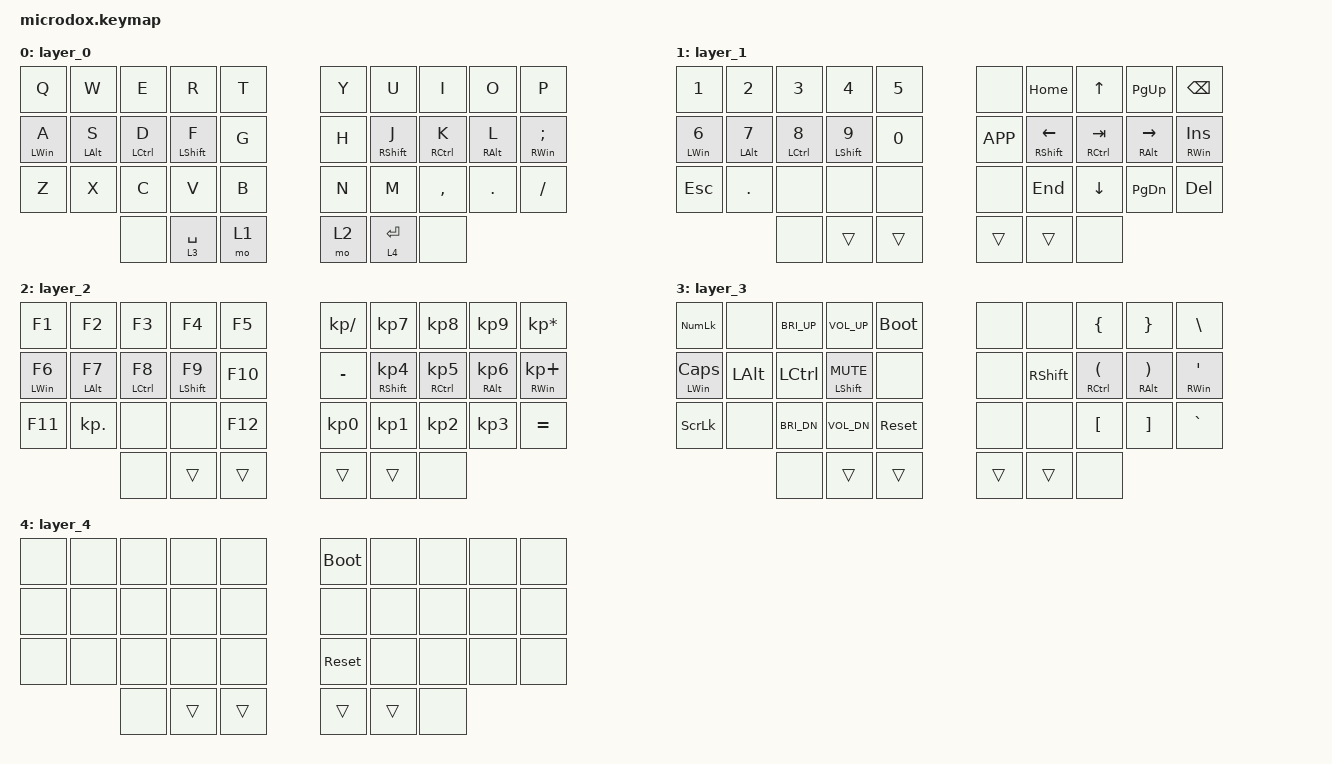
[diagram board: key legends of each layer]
/*
 * Copyright (c) 2020 The ZMK Contributors
 *
 * SPDX-License-Identifier: MIT
 */

#include <behaviors.dtsi>
#include <dt-bindings/zmk/keys.h>
#include <dt-bindings/zmk/bt.h>
#include <dt-bindings/zmk/outputs.h>

/ {
    behaviors {
        hm: homerow_mods {
            compatible = "zmk,behavior-hold-tap";
            label = "HOMEROW_MODS";
            #binding-cells = <2>;
            tapping-term-ms = <200>;
            quick-tap-ms = <125>;
            flavor = "tap-preferred";
            bindings = <&kp>, <&kp>;
        };
    };

    keymap {
        compatible = "zmk,keymap";
        layer_0 {
            bindings = <
// ╭─────────────┬─────────────┬─────────────┬─────────────┬─────────────╮   ╭─────────────┬─────────────┬─────────────┬─────────────┬─────────────╮
    &kp Q         &kp W         &kp E         &kp R         &kp T             &kp Y         &kp U         &kp I         &kp O         &kp P
// ├─────────────┼─────────────┼─────────────┼─────────────┼─────────────┤   ├─────────────┼─────────────┼─────────────┼─────────────┼─────────────┤
    &hm LWIN A    &hm LALT S    &hm LCTRL D   &hm LSHIFT F  &kp G             &kp H         &hm RSHIFT J  &hm RCTRL K   &hm RALT L    &hm RWIN SEMI
// ├─────────────┼─────────────┼─────────────┼─────────────┼─────────────┤   ├─────────────┼─────────────┼─────────────┼─────────────┼─────────────┤
    &kp Z         &kp X         &kp C         &kp V         &kp B             &kp N         &kp M         &kp COMMA     &kp DOT       &kp SLASH
// ╰─────────────┴─────────────┴─────────────┼─────────────┼─────────────┤   ├─────────────┼─────────────┼─────────────┴─────────────┴─────────────╯
                                &none         &lt 3 SPACE   &mo 1             &mo 2         &lt 4 ENTER   &none
//                                           ╰─────────────┴─────────────╯   ╰─────────────┴─────────────╯
            >;
        };
        layer_1 {
            bindings = <
// ╭─────────────┬─────────────┬─────────────┬─────────────┬─────────────╮   ╭─────────────┬─────────────┬─────────────┬─────────────┬─────────────╮
    &kp N1        &kp N2        &kp N3        &kp N4        &kp N5            &none         &kp HOME      &kp UP        &kp PAGE_UP   &kp BACKSPACE
// ├─────────────┼─────────────┼─────────────┼─────────────┼─────────────┤   ├─────────────┼─────────────┼─────────────┼─────────────┼─────────────┤
    &hm LWIN N6   &hm LALT N7   &hm LCTRL N8  &hm LSHIFT N9 &kp N0            &kp K_APP     &hm RSHIFT LEFT &hm RCTRL TAB &hm RALT RIGHT &hm RWIN INSERT
// ├─────────────┼─────────────┼─────────────┼─────────────┼─────────────┤   ├─────────────┼─────────────┼─────────────┼─────────────┼─────────────┤
    &kp ESCAPE    &kp DOT       &none         &none         &none             &none         &kp END       &kp DOWN      &kp PAGE_DOWN &kp DELETE
// ╰─────────────┴─────────────┴─────────────┼─────────────┼─────────────┤   ├─────────────┼─────────────┼─────────────┴─────────────┴─────────────╯
                                &none         &trans        &trans            &trans        &trans        &none
//                                           ╰─────────────┴─────────────╯   ╰─────────────┴─────────────╯
            >;
        };
        layer_2 {
            bindings = <
// ╭─────────────┬─────────────┬─────────────┬─────────────┬─────────────╮   ╭─────────────┬─────────────┬─────────────┬─────────────┬─────────────╮
    &kp F1        &kp F2        &kp F3        &kp F4        &kp F5            &kp KP_DIVIDE &kp KP_N7     &kp KP_N8     &kp KP_N9     &kp KP_MULTIPLY
// ├─────────────┼─────────────┼─────────────┼─────────────┼─────────────┤   ├─────────────┼─────────────┼─────────────┼─────────────┼─────────────┤
    &hm LWIN F6   &hm LALT F7   &hm LCTRL F8  &hm LSHIFT F9 &kp F10           &kp MINUS     &hm RSHFT KP_N4 &hm RCTRL KP_N5 &hm RALT KP_N6 &hm RWIN KP_PLUS
// ├─────────────┼─────────────┼─────────────┼─────────────┼─────────────┤   ├─────────────┼─────────────┼─────────────┼─────────────┼─────────────┤
    &kp F11       &kp KP_DOT    &none         &none         &kp F12           &kp KP_N0     &kp KP_N1     &kp KP_N2     &kp KP_N3     &kp EQUAL
// ╰─────────────┴─────────────┴─────────────┼─────────────┼─────────────┤   ├─────────────┼─────────────┼─────────────┴─────────────┴─────────────╯
                                &none         &trans        &trans            &trans        &trans        &none
//                                           ╰─────────────┴─────────────╯   ╰─────────────┴─────────────╯
            >;
        };
        layer_3 {
            bindings = <
// ╭─────────────┬─────────────┬─────────────┬─────────────┬─────────────╮   ╭─────────────┬─────────────┬─────────────┬─────────────┬─────────────╮
    &kp KP_NLCK   &none         &kp C_BRI_UP  &kp C_VOL_UP  &bootloader       &none         &none         &kp LBRC      &kp RBRC      &kp BACKSLASH
// ├─────────────┼─────────────┼─────────────┼─────────────┼─────────────┤   ├─────────────┼─────────────┼─────────────┼─────────────┼─────────────┤
    &hm LWIN CLCK &kp LALT      &kp LCTRL     &hm LSHFT C_MUTE    &none       &none         &kp RSHFT     &hm RCTRL LPAR &hm RALT RPAR &hm RWIN APOSTROPHE
// ├─────────────┼─────────────┼─────────────┼─────────────┼─────────────┤   ├─────────────┼─────────────┼─────────────┼─────────────┼─────────────┤
    &kp SLCK      &none         &kp C_BRI_DN  &kp C_VOL_DN  &sys_reset        &none         &none         &kp LBKT      &kp RBKT      &kp GRAVE
// ╰─────────────┴─────────────┴─────────────┼─────────────┼─────────────┤   ├─────────────┼─────────────┼─────────────┴─────────────┴─────────────╯
                                &none         &trans        &trans            &trans        &trans        &none
//                                           ╰─────────────┴─────────────╯   ╰─────────────┴─────────────╯
            >;
        };
        layer_4 {
            bindings = <
// ╭─────────────┬─────────────┬─────────────┬─────────────┬─────────────╮   ╭─────────────┬─────────────┬─────────────┬─────────────┬─────────────╮
//  &bt BT_SEL 0  &bt BT_SEL 1  &bt BT_SEL 2  &bt BT_SEL 3  &bt BT_SEL 4      &bootloader   &none         &none         &none         &none        
    &none         &none         &none         &none         &none             &bootloader   &none         &none         &none         &none         
// ├─────────────┼─────────────┼─────────────┼─────────────┼─────────────┤   ├─────────────┼─────────────┼─────────────┼─────────────┼─────────────┤
//  &out OUT_BLE  &none         &none         &none         &none             &none         &none         &none         &none         &none         
    &none         &none         &none         &none         &none             &none         &none         &none         &none         &none         
// ├─────────────┼─────────────┼─────────────┼─────────────┼─────────────┤   ├─────────────┼─────────────┼─────────────┼─────────────┼─────────────┤
//  &out OUT_USB  &none         &none         &none         &bt BT_CLR        &sys_reset    &none         &none         &none         &none         
    &none         &none         &none         &none         &none             &sys_reset    &none         &none         &none         &none         
// ╰─────────────┴─────────────┴─────────────┼─────────────┼─────────────┤   ├─────────────┼─────────────┼─────────────┴─────────────┴─────────────╯
                                &none         &trans        &trans            &trans        &trans        &none
//                                           ╰─────────────┴─────────────╯   ╰─────────────┴─────────────╯
            >;
        };
    };
};
